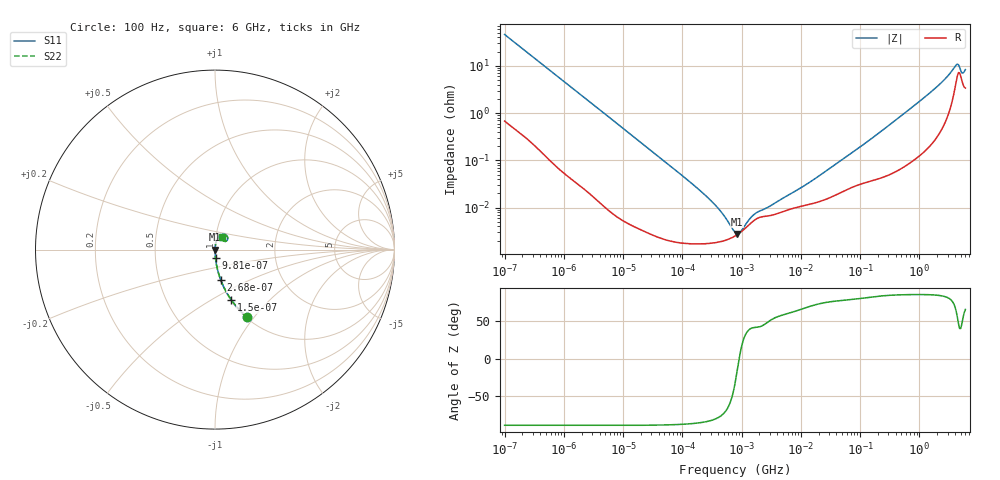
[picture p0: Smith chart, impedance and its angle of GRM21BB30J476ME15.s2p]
!Murata Part Number: GRM21BB30J476ME15
!These Parameters are Measured in Series Mode Connection
!Data Generated on Mar 30, 2021
!  o--ll--o
!Port1  Port2
!  o------o
!Operation Temp=25[degC], DC Bias Voltage=0[V]
!Freq. Start=100[Hz] Stop=6[GHz] 401[Steps]
# Hz S RI R 50
!Freq.(Hz) S11(Real) S11(Imag) S21(Real) S21(Imag) S12(Real) S12(Imag) S22(Real) S22(Imag)
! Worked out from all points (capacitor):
!   401 points, 100 Hz to 6 GHz, reference 50 ohm
!   read as one part in series: C = 34.5 uF near 109 Hz
!   lowest |Z| = 2.79 mohm at 847.2 kHz (marker M1)
!   series resonance near 910.9 kHz, so ESL is about 890 pH
!   S11 on the Smith chart (normalised r, x): 100 Hz: 1.01, -0.92; 150 Hz: 1.01, -0.62; 268 Hz: 1.01, -0.35; 981 Hz: 1.00, -0.10; 6 GHz: 1.07, +0.15
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100  0.1784 -0.3755  0.8216 0.3755  0.8216 0.3755  0.1784 -0.3755
150  0.0904 -0.2795  0.9096 0.2795  0.9096 0.2795  0.0904 -0.2795
268  0.0315 -0.1676  0.9685 0.1676  0.9685 0.1676  0.0315 -0.1676
479  0.0106 -0.0963  0.9894 0.0963  0.9894 0.0963  0.0106 -0.0963
981  0.00283 -0.0477  0.9972 0.0477  0.9972 0.0477  0.00283 -0.0477
2008  0.000821 -0.0235  0.9992 0.0235  0.9992 0.0235  0.000821 -0.0235
40335  2.47e-05 -0.00119  1 0.00119  1 0.00119  2.47e-05 -0.00119
176758  1.72e-05 -0.000262  1 0.000262  1 0.000262  1.72e-05 -0.000262
378399  1.84e-05 -0.000104  1 0.000104  1 0.000104  1.84e-05 -0.000104
432798  1.9e-05 -8.51e-05  1 8.51e-05  1 8.51e-05  1.9e-05 -8.51e-05
774597  2.51e-05 -1.65e-05  1 1.65e-05  1 1.65e-05  2.51e-05 -1.65e-05
847162  2.7e-05 -7.2e-06  1 7.2e-06  1 7.2e-06  2.7e-05 -7.2e-06
2837864  6.69e-05 7.87e-05  0.9999 -7.87e-05  0.9999 -7.87e-05  6.69e-05 7.87e-05
1.555665e7  0.000122 0.000354  0.9999 -0.000354  0.9999 -0.000354  0.000122 0.000354
1.066761e8  0.000324 0.00201  0.9997 -0.00201  0.9997 -0.00201  0.000324 0.00201
3.124326e8  0.000527 0.00559  0.9995 -0.00559  0.9995 -0.00559  0.000527 0.00559
1.873145e9  0.00391 0.0335  0.9961 -0.0335  0.9961 -0.0335  0.00391 0.0335
2.802721e9  0.00968 0.0535  0.9903 -0.0535  0.9903 -0.0535  0.00968 0.0535
4.009986e9  0.0405 0.0842  0.9595 -0.0842  0.9595 -0.0842  0.0405 0.0842
4.385646e9  0.0641 0.0794  0.9359 -0.0794  0.9359 -0.0794  0.0641 0.0794
5.245841e9  0.0483 0.0469  0.9517 -0.0469  0.9517 -0.0469  0.0483 0.0469
6e9  0.0379 0.0706  0.9621 -0.0706  0.9621 -0.0706  0.0379 0.0706
